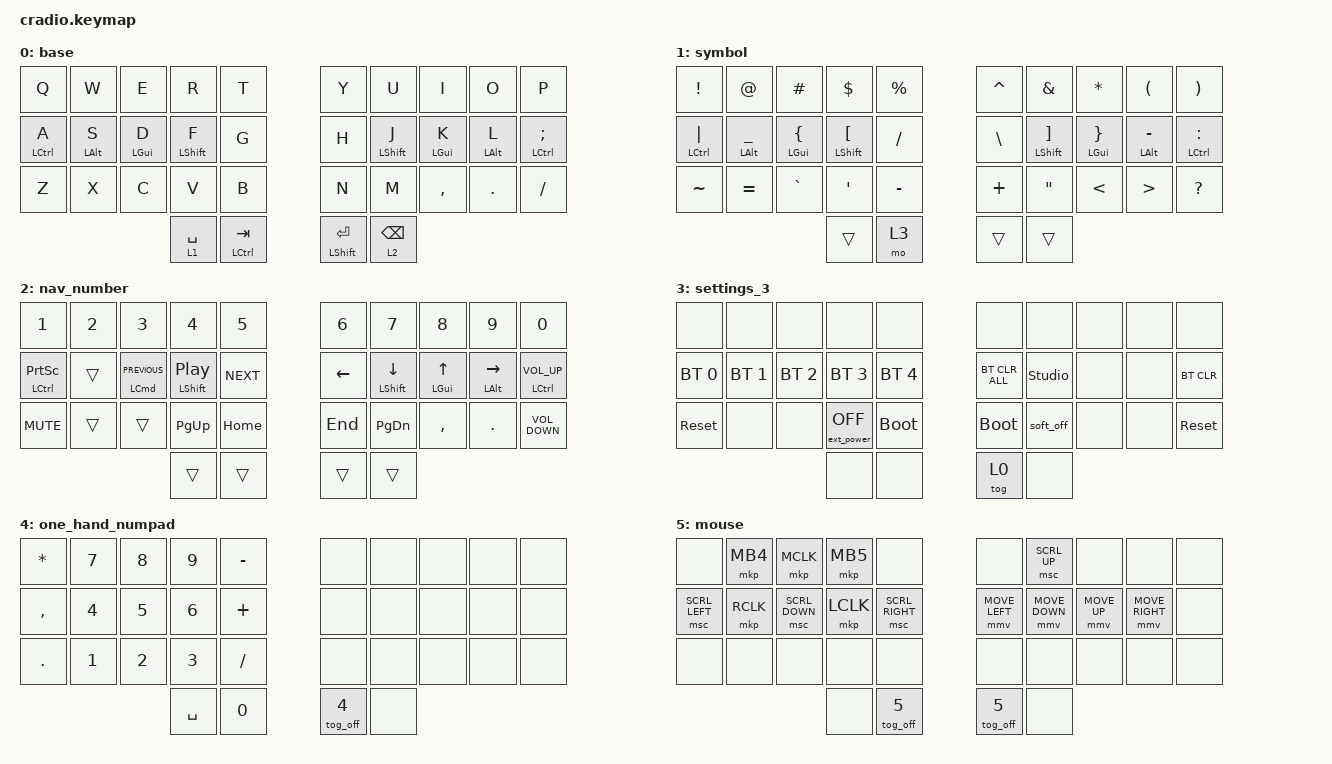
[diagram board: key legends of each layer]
/*
 * Copyright (c) 2020 The ZMK Contributors
 *
 * SPDX-License-Identifier: MIT
 */

#define ZMK_POINTING_DEFAULT_MOVE_VAL 800  // default: 600
#define ZMK_POINTING_DEFAULT_SCRL_VAL 30    // default: 10

#include <behaviors.dtsi>
#include <dt-bindings/zmk/bt.h>
#include <dt-bindings/zmk/ext_power.h>
#include <dt-bindings/zmk/keys.h>
#include <dt-bindings/zmk/pointing.h>

// Layer definitions

#define BASE 0
#define SYM 1
#define EXT 2
#define FNC 3
#define SYM2 4
#define ACCENT 5
#define SETTINGS 6

// -----------------

&caps_word { continue-list = <UNDERSCORE BACKSPACE DELETE SPACE MINUS>; };

/ {
    macros {
        // sometimes my device thinks a modifier is being held down
        // pressing all modifiers fixes it.
    };

    combos {
        compatible = "zmk,combos";

        delete {
            bindings = <&kp DELETE>;
            key-positions = <12 13>;
        };

        copy {
            bindings = <&kp LG(C)>;
            key-positions = <22 21>;
        };

        paste {
            bindings = <&kp LG(V)>;
            key-positions = <23 22>;
        };

        cut {
            bindings = <&kp LG(X)>;
            key-positions = <23 21>;
        };

        escape {
            bindings = <&kp ESC>;
            key-positions = <16 17>;
        };

        enter {
            bindings = <&kp ENTER>;
            key-positions = <10 11 12>;
            layers = <0 4>;
            slow-release;
            require-prior-idle-ms = <220>;
            timeout-ms = <40>;
        };

        caps_word {
            bindings = <&caps_word>;
            key-positions = <13 12 16 17>;
            layers = <0>;
        };

        escape_left {
            bindings = <&kp ESC>;
            key-positions = <0 1>;
            slow-release;
            require-prior-idle-ms = <200>;
            layers = <0>;
            timeout-ms = <40>;
        };

        scroll_up {
            bindings = <&msc SCRL_UP>;
            key-positions = <6 7 8>;
            layers = <0 5>;
            slow-release;
            require-prior-idle-ms = <180>;
        };

        scroll_down {
            bindings = <&msc SCRL_DOWN>;
            key-positions = <26 27 28>;
            layers = <0 5>;
            slow-release;
            require-prior-idle-ms = <180>;
        };

        mouse_layer {
            bindings = <&tog 5>;
            key-positions = <21 20>;
            layers = <0 5>;
            slow-release;
            require-prior-idle-ms = <180>;
        };

        mouse_layer_right {
            bindings = <&tog 5>;
            key-positions = <17 18>;
            layers = <0 5>;
            slow-release;
            require-prior-idle-ms = <180>;
        };

        one_hand_numpad {
            bindings = <&tog 4>;
            key-positions = <1 2 3>;
            require-prior-idle-ms = <200>;
            slow-release;
            layers = <0 4>;
        };
    };

    behaviors {
        tog_off: toggle_layer_off {
            compatible = "zmk,behavior-toggle-layer";
            #binding-cells = <1>;
            display-name = "Toggle Layer off";
            toggle-mode = "off";
        };

        hmr: hmr {
            compatible = "zmk,behavior-hold-tap";
            label = "HMR";
            bindings = <&kp>, <&kp>;

            #binding-cells = <2>;
            tapping-term-ms = <230>;
            quick-tap-ms = <150>;
            require-prior-idle-ms = <130>;
            flavor = "balanced";
            hold-trigger-key-positions = <0 1 2 3 4 10 11 12 13 14 20 21 22 23 24 30 31>;
            hold-trigger-on-release;
        };

        hml: hml {
            compatible = "zmk,behavior-hold-tap";
            label = "HML";
            bindings = <&kp>, <&kp>;

            #binding-cells = <2>;
            tapping-term-ms = <230>;
            quick-tap-ms = <155>;
            require-prior-idle-ms = <130>;
            flavor = "balanced";
            hold-trigger-key-positions = <5 6 7 8 9 15 16 17 18 19 25 26 27 28 29 32 33>;
            hold-trigger-on-release;
        };

        rthumb: rthumb {
            compatible = "zmk,behavior-hold-tap";
            label = "RTHUMB";
            bindings = <&mo>, <&kp>;

            #binding-cells = <2>;
            tapping-term-ms = <230>;
            quick-tap-ms = <130>;
            hold-trigger-key-positions = <5 6 7 8 9 15 16 17 18 25 33 24 0 1 2 3 4 10 19 29>;
        };

        lthumb: lthumb {
            compatible = "zmk,behavior-hold-tap";
            label = "LTHUMB";
            bindings = <&mo>, <&kp>;

            #binding-cells = <2>;
            tapping-term-ms = <230>;
            quick-tap-ms = <150>;
        };

        hold_priority: hold_priority {
            compatible = "zmk,behavior-hold-tap";
            label = "HOLD_PRIORITY";
            bindings = <&kp>, <&kp>;

            #binding-cells = <2>;
            tapping-term-ms = <230>;
            quick-tap-ms = <150>;
        };

        mouse_layout: mouse_layout {
            compatible = "zmk,behavior-hold-tap";
            label = "MOUSE_LAYOUT";
            bindings = <&mo>, <&kp>;

            #binding-cells = <2>;
            tapping-term-ms = <230>;
            quick-tap-ms = <130>;
            hold-trigger-key-positions = <15 16 17 18 10 11 12 13 1 2 3 6>;
        };

        left_shift_mode: left_shift_mode {
            compatible = "zmk,behavior-hold-tap";
            label = "LEFT_SHIFT_MODE";
            bindings = <&kp>, <&kp>;

            #binding-cells = <2>;
            tapping-term-ms = <200>;
            quick-tap-ms = <150>;
            require-prior-idle-ms = <120>;
            hold-trigger-key-positions = <5 6 7 8 9 15 16 17 18 19 25 26 27 28 29 32 33>;
        };

        right_shift_mode: right_shift_mode {
            compatible = "zmk,behavior-hold-tap";
            label = "RIGHT_SHIFT_MODE";
            bindings = <&kp>, <&kp>;

            #binding-cells = <2>;
            tapping-term-ms = <200>;
            quick-tap-ms = <150>;
            require-prior-idle-ms = <120>;
            hold-trigger-key-positions = <0 1 2 3 4 10 11 12 13 14 20 21 22 23 24 30 31>;
        };
    };

    keymap {
        compatible = "zmk,keymap";

        base {
            bindings = <
&kp Q         &kp W        &kp E        &kp R                          &kp T                       &kp Y                        &kp U                           &kp I        &kp O            &kp P
&hml LCTRL A  &hml LALT S  &hml LGUI D  &left_shift_mode LEFT_SHIFT F  &kp G                       &kp H                        &right_shift_mode LEFT_SHIFT J  &hmr LGUI K  &hmr LEFT_ALT L  &hmr LCTRL SEMICOLON
&kp Z         &kp X        &kp C        &kp V                          &kp B                       &kp N                        &kp M                           &kp COMMA    &kp DOT          &kp SLASH
                                        &lthumb 1 SPACE                &hold_priority LCTRL TAB    &hold_priority LSHIFT ENTER  &rthumb 2 BACKSPACE
            >;
        };

        symbol {
            bindings = <
&kp EXCLAMATION  &kp AT_SIGN           &kp HASH              &kp DOLLAR                    &kp PERCENT    &kp CARET      &kp AMPERSAND                  &kp ASTERISK           &kp LEFT_PARENTHESIS  &kp RIGHT_PARENTHESIS
&hml LCTRL PIPE  &hml LALT UNDERSCORE  &hml LGUI LEFT_BRACE  &hml LEFT_SHIFT LEFT_BRACKET  &kp SLASH      &kp BACKSLASH  &hmr LEFT_SHIFT RIGHT_BRACKET  &hmr LGUI RIGHT_BRACE  &hmr LALT MINUS       &hmr LCTRL COLON
&kp TILDE        &kp EQUAL             &kp GRAVE             &kp SQT                       &kp MINUS      &kp PLUS       &kp DOUBLE_QUOTES              &kp LESS_THAN          &kp GREATER_THAN      &kp QUESTION
                                                             &trans                        &mo 3          &trans         &trans
            >;
        };

        nav_number {
            bindings = <
&kp NUMBER_1            &kp N2  &kp N3                        &kp N4                            &kp N5        &kp N6          &kp N7                      &kp N8              &kp N9                 &kp N0
&hml LCTRL PRINTSCREEN  &trans  &hml LEFT_COMMAND C_PREVIOUS  &left_shift_mode LEFT_SHIFT C_PP  &kp C_NEXT    &kp LEFT_ARROW  &hmr LEFT_SHIFT DOWN_ARROW  &hmr LGUI UP_ARROW  &hmr LALT RIGHT_ARROW  &hmr LCTRL C_VOLUME_UP
&kp C_MUTE              &trans  &trans                        &kp PG_UP                         &kp HOME      &kp END         &kp PG_DN                   &kp COMMA           &kp DOT                &kp C_VOLUME_DOWN
                                                              &trans                            &trans        &trans          &trans
            >;
        };

        settings_3 {
            bindings = <
&none         &none         &none         &none              &none           &none           &none           &none  &none  &none
&bt BT_SEL 0  &bt BT_SEL 1  &bt BT_SEL 2  &bt BT_SEL 3       &bt BT_SEL 4    &bt BT_CLR_ALL  &studio_unlock  &none  &none  &bt BT_CLR
&sys_reset    &none         &none         &ext_power EP_OFF  &bootloader     &bootloader     &soft_off       &none  &none  &sys_reset
                                          &none              &none           &tog 0          &none
            >;
        };

        one_hand_numpad {
            bindings = <
&kp STAR   &kp N7  &kp N8  &kp N9     &kp MINUS    &none       &none  &none  &none  &none
&kp COMMA  &kp N4  &kp N5  &kp N6     &kp PLUS     &none       &none  &none  &none  &none
&kp DOT    &kp N1  &kp N2  &kp N3     &kp FSLH     &none       &none  &none  &none  &none
                           &kp SPACE  &kp N0       &tog_off 4  &none
            >;
        };

        mouse {
            bindings = <
&none           &mkp MB4   &mkp MCLK       &mkp MB5   &none              &none           &msc SCRL_UP    &none         &none            &none
&msc SCRL_LEFT  &mkp RCLK  &msc SCRL_DOWN  &mkp LCLK  &msc SCRL_RIGHT    &mmv MOVE_LEFT  &mmv MOVE_DOWN  &mmv MOVE_UP  &mmv MOVE_RIGHT  &none
&none           &none      &none           &none      &none              &none           &none           &none         &none            &none
                                           &none      &tog_off 5         &tog_off 5      &none
            >;
        };
    };
};
